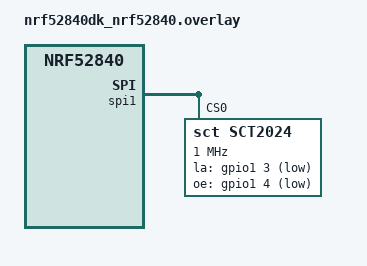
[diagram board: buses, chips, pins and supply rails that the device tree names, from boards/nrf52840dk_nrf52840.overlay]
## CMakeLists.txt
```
# SPDX-License-Identifier: Apache-2.0

cmake_minimum_required(VERSION 3.28.0)

find_package(Zephyr REQUIRED HINTS $ENV{ZEPHYR_BASE})
project(led_sct2024)

target_sources(app PRIVATE src/main.c)
```

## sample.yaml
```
sample:
  description: Demonstration of the SCT2024 LED driver
  name: SCT2024 sample
tests:
  sample.drivers.led.sct2024:
    tags: led
    harness: TBD
    platform_allow: nrf52840dk/nrf52840
    integration_platforms:
      - nrf52840dk/nrf52840
```

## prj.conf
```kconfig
CONFIG_LED=y
CONFIG_LOG=y
CONFIG_SPI=y
```

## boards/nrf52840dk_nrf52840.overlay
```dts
/*
 * Copyright (c) 2025 Hubert Miś
 *
 * SPDX-License-Identifier: Apache-2.0
 */

#include <zephyr/dt-bindings/led/led.h>

&spi1 {
	status = "okay";

	sct2024@0 {
		compatible = "sct,sct2024";

		reg = <0>;
		spi-max-frequency = <1000000>;
		la-gpios = <&gpio1 3 GPIO_ACTIVE_LOW>;
		oe-gpios = <&gpio1 4 GPIO_ACTIVE_LOW>;
		status = "okay";

		led_0 {
			label = "LED 0";
			index = <0>;
		};

		led_1 {
			label = "LED 1";
			index = <1>;
		};

		led_2 {
			label = "LED 2";
			index = <2>;
		};

		led_3 {
			label = "LED 3";
			index = <3>;
		};

		led_4 {
			label = "LED 4";
			index = <4>;
		};

		led_5 {
			label = "LED 5";
			index = <5>;
		};

		led_6 {
			label = "LED 6";
			index = <6>;
		};

		led_7 {
			label = "LED 7";
			index = <7>;
		};

		led_8 {
			label = "LED 8";
			index = <8>;
		};

		led_9 {
			label = "LED 9";
			index = <9>;
		};

		led_10 {
			label = "LED 10";
			index = <10>;
		};

		led_11 {
			label = "LED 11";
			index = <11>;
		};

		led_12 {
			label = "LED 12";
			index = <12>;
		};

		led_13 {
			label = "LED 13";
			index = <13>;
		};

		led_14 {
			label = "LED 14";
			index = <14>;
		};

		led_15 {
			label = "LED 15";
			index = <15>;
		};
	};
};

&spi1_default {
	group1 {
		psels = <NRF_PSEL(SPIM_SCK, 1, 1)>,
			<NRF_PSEL(SPIM_MOSI, 1, 2)>;
	};
};

&spi1_sleep {
	group1 {
		psels = <NRF_PSEL(SPIM_SCK, 1, 1)>,
			<NRF_PSEL(SPIM_MOSI, 1, 2)>;
		low-power-enable;
	};
};
```

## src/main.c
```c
/*
 * Copyright (c) 2025 Hubert Miś
 *
 * SPDX-License-Identifier: Apache-2.0
 */

#include <zephyr/device.h>
#include <zephyr/drivers/led.h>
#include <zephyr/kernel.h>
#include <zephyr/sys/util.h>

#define LOG_LEVEL CONFIG_LOG_DEFAULT_LEVEL
#include <zephyr/logging/log.h>
LOG_MODULE_REGISTER(main);

#define LED_DELAY_MS    500
#define ON_OFF_DELAY_MS 125

#define NUM_LEDS 16

int main(void)
{
	static const struct device *dev = DEVICE_DT_GET_ANY(sct_sct2024);
	const uint8_t channels_on[NUM_LEDS] = {255, 255, 255, 255,
		255, 255, 255, 255,
		255, 255, 255, 255,
		255, 255, 255, 255};
	const uint8_t channels_off[NUM_LEDS] = {0, 0, 0, 0,
		0, 0, 0, 0,
		0, 0, 0, 0,
		0, 0, 0, 0};

	if (!dev) {
		LOG_ERR("No SCT2024 LED controller found");
		return -ENODEV;
	}

	if (!device_is_ready(dev)) {
		LOG_ERR("SCT2024 LED controller not ready");
		return -ENODEV;
	}

	do {
		LOG_INF("Turning LEDs on sequentially");

		for (int i = 0; i < NUM_LEDS; i++) {
			if (led_on(dev, i)) {
				LOG_ERR("Failed to turn on LED %d", i);
			}
			k_msleep(LED_DELAY_MS);
		}

		LOG_INF("Blinking all LEDs");

		led_write_channels(dev, 0, NUM_LEDS, channels_off);
		k_msleep(ON_OFF_DELAY_MS);
		led_write_channels(dev, 0, NUM_LEDS, channels_on);
		k_msleep(ON_OFF_DELAY_MS);

		LOG_INF("Turning LEDs off sequentially");

		for (int i = 0; i < NUM_LEDS; i++) {
			if (led_off(dev, i)) {
				LOG_ERR("Failed to turn off LED %d", i);
			}
			k_msleep(LED_DELAY_MS);
		}
	} while (true);

	return 0;
}
```
